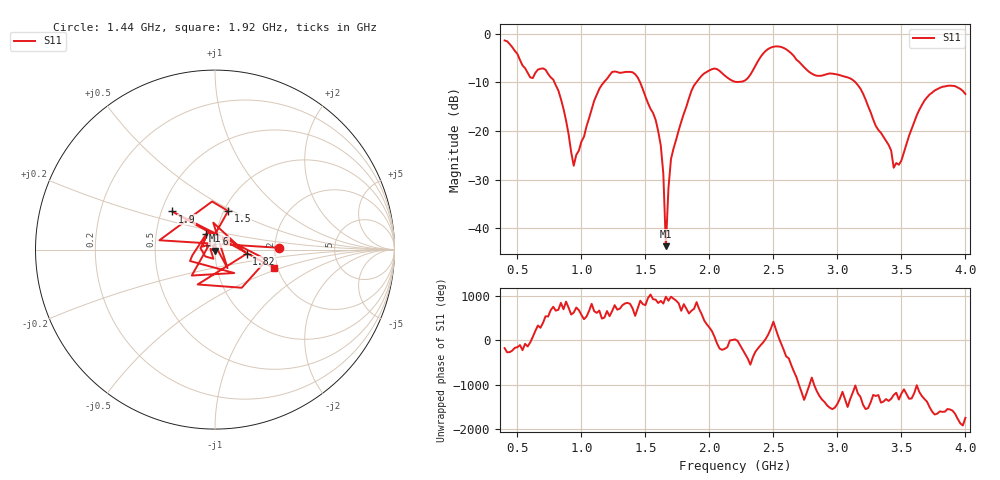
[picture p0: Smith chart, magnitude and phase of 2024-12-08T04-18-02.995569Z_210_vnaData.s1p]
!Created with skrf (http://scikit-rf.org).
# Hz S RI R 50.0
!freq ReS11 ImS11
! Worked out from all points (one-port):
!   181 points, 400 MHz to 4 GHz, reference 50 ohm
!   lowest |S11| = -43.7 dB at 1.66 GHz (marker M1), VSWR 1.01, Z = 49.9 - j0.643 ohm
!   |S11| at or under -10 dB: 789.9 MHz to 1.175 GHz (384.9 MHz wide, 39.2 % of centre); 1.459 GHz to 1.898 GHz (438.8 MHz wide, 26.1 % of centre); 3.142 GHz to end of sweep
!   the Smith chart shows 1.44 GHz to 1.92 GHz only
!   S11 on the Smith chart (normalised r, x): 1.44 GHz: 2.10, +0.05; 1.5 GHz: 1.05, +0.48; 1.6 GHz: 0.89, +0.16; 1.82 GHz: 1.43, -0.07; 1.9 GHz: 0.57, +0.27; 1.92 GHz: 1.91, -0.45
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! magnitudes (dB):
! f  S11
! 400 MHz  -1.4
! 600 MHz  -9.0
! 720 MHz  -7.4
! 860 MHz  -15.4
! 940 MHz  -27.1
! 1.14 GHz  -11.3
! 1.3 GHz  -8.0
! 1.44 GHz  -9.0
! 1.5 GHz  -12.9
! 1.6 GHz  -20.0
! 1.64 GHz  -28.7
! 1.66 GHz  -43.7
! 1.68 GHz  -31.8
! 1.7 GHz  -25.7
! 1.76 GHz  -19.9
! 1.82 GHz  -15.0
! 1.9 GHz  -9.9
! 1.92 GHz  -9.2
! 2.04 GHz  -7.1
! 2.2 GHz  -9.9
! 2.48 GHz  -2.8
! 2.66 GHz  -4.6
! 3.1 GHz  -9.2
! 3.4 GHz  -22.8
! 3.44 GHz  -27.5
! 3.56 GHz  -21.0
! 3.76 GHz  -11.7
! 4 GHz  -12.4
